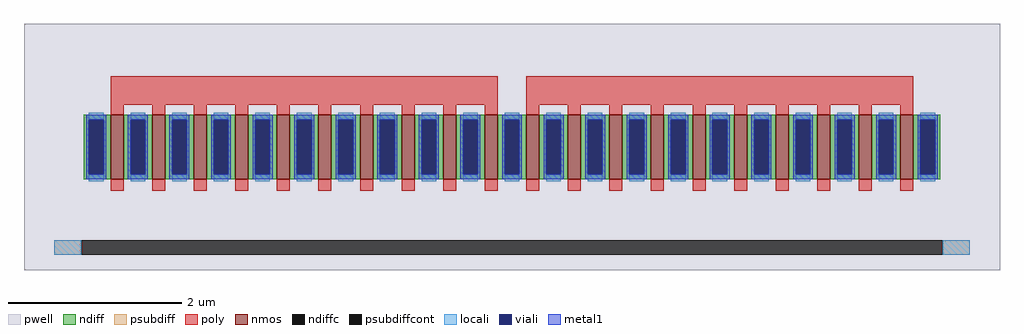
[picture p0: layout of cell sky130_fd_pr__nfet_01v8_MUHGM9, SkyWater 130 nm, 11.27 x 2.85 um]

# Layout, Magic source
magic
tech sky130A
magscale 1 2
<< pwell >>
rect -1127 -285 1127 285
<< nmos >>
rect -927 -75 -897 75
rect -831 -75 -801 75
rect -735 -75 -705 75
rect -639 -75 -609 75
rect -543 -75 -513 75
rect -447 -75 -417 75
rect -351 -75 -321 75
rect -255 -75 -225 75
rect -159 -75 -129 75
rect -63 -75 -33 75
rect 33 -75 63 75
rect 129 -75 159 75
rect 225 -75 255 75
rect 321 -75 351 75
rect 417 -75 447 75
rect 513 -75 543 75
rect 609 -75 639 75
rect 705 -75 735 75
rect 801 -75 831 75
rect 897 -75 927 75
<< ndiff >>
rect -989 63 -927 75
rect -989 -63 -977 63
rect -943 -63 -927 63
rect -989 -75 -927 -63
rect -897 63 -831 75
rect -897 -63 -881 63
rect -847 -63 -831 63
rect -897 -75 -831 -63
rect -801 63 -735 75
rect -801 -63 -785 63
rect -751 -63 -735 63
rect -801 -75 -735 -63
rect -705 63 -639 75
rect -705 -63 -689 63
rect -655 -63 -639 63
rect -705 -75 -639 -63
rect -609 63 -543 75
rect -609 -63 -593 63
rect -559 -63 -543 63
rect -609 -75 -543 -63
rect -513 63 -447 75
rect -513 -63 -497 63
rect -463 -63 -447 63
rect -513 -75 -447 -63
rect -417 63 -351 75
rect -417 -63 -401 63
rect -367 -63 -351 63
rect -417 -75 -351 -63
rect -321 63 -255 75
rect -321 -63 -305 63
rect -271 -63 -255 63
rect -321 -75 -255 -63
rect -225 63 -159 75
rect -225 -63 -209 63
rect -175 -63 -159 63
rect -225 -75 -159 -63
rect -129 63 -63 75
rect -129 -63 -113 63
rect -79 -63 -63 63
rect -129 -75 -63 -63
rect -33 63 33 75
rect -33 -63 -17 63
rect 17 -63 33 63
rect -33 -75 33 -63
rect 63 63 129 75
rect 63 -63 79 63
rect 113 -63 129 63
rect 63 -75 129 -63
rect 159 63 225 75
rect 159 -63 175 63
rect 209 -63 225 63
rect 159 -75 225 -63
rect 255 63 321 75
rect 255 -63 271 63
rect 305 -63 321 63
rect 255 -75 321 -63
rect 351 63 417 75
rect 351 -63 367 63
rect 401 -63 417 63
rect 351 -75 417 -63
rect 447 63 513 75
rect 447 -63 463 63
rect 497 -63 513 63
rect 447 -75 513 -63
rect 543 63 609 75
rect 543 -63 559 63
rect 593 -63 609 63
rect 543 -75 609 -63
rect 639 63 705 75
rect 639 -63 655 63
rect 689 -63 705 63
rect 639 -75 705 -63
rect 735 63 801 75
rect 735 -63 751 63
rect 785 -63 801 63
rect 735 -75 801 -63
rect 831 63 897 75
rect 831 -63 847 63
rect 881 -63 897 63
rect 831 -75 897 -63
rect 927 63 989 75
rect 927 -63 943 63
rect 977 -63 989 63
rect 927 -75 989 -63
<< ndiffc >>
rect -977 -63 -943 63
rect -881 -63 -847 63
rect -785 -63 -751 63
rect -689 -63 -655 63
rect -593 -63 -559 63
rect -497 -63 -463 63
rect -401 -63 -367 63
rect -305 -63 -271 63
rect -209 -63 -175 63
rect -113 -63 -79 63
rect -17 -63 17 63
rect 79 -63 113 63
rect 175 -63 209 63
rect 271 -63 305 63
rect 367 -63 401 63
rect 463 -63 497 63
rect 559 -63 593 63
rect 655 -63 689 63
rect 751 -63 785 63
rect 847 -63 881 63
rect 943 -63 977 63
<< psubdiff >>
rect -1057 -249 -995 -215
rect 995 -249 1057 -215
<< psubdiffcont >>
rect -995 -249 995 -215
<< poly >>
rect -927 97 -33 163
rect -927 75 -897 97
rect -831 75 -801 97
rect -735 75 -705 97
rect -639 75 -609 97
rect -543 75 -513 97
rect -447 75 -417 97
rect -351 75 -321 97
rect -255 75 -225 97
rect -159 75 -129 97
rect -63 75 -33 97
rect 33 97 927 163
rect 33 75 63 97
rect 129 75 159 97
rect 225 75 255 97
rect 321 75 351 97
rect 417 75 447 97
rect 513 75 543 97
rect 609 75 639 97
rect 705 75 735 97
rect 801 75 831 97
rect 897 75 927 97
rect -927 -101 -897 -75
rect -831 -101 -801 -75
rect -735 -101 -705 -75
rect -639 -101 -609 -75
rect -543 -101 -513 -75
rect -447 -101 -417 -75
rect -351 -101 -321 -75
rect -255 -101 -225 -75
rect -159 -101 -129 -75
rect -63 -101 -33 -75
rect 33 -101 63 -75
rect 129 -101 159 -75
rect 225 -101 255 -75
rect 321 -101 351 -75
rect 417 -101 447 -75
rect 513 -101 543 -75
rect 609 -101 639 -75
rect 705 -101 735 -75
rect 801 -101 831 -75
rect 897 -101 927 -75
<< locali >>
rect -977 63 -943 79
rect -977 -79 -943 -63
rect -881 63 -847 79
rect -881 -79 -847 -63
rect -785 63 -751 79
rect -785 -79 -751 -63
rect -689 63 -655 79
rect -689 -79 -655 -63
rect -593 63 -559 79
rect -593 -79 -559 -63
rect -497 63 -463 79
rect -497 -79 -463 -63
rect -401 63 -367 79
rect -401 -79 -367 -63
rect -305 63 -271 79
rect -305 -79 -271 -63
rect -209 63 -175 79
rect -209 -79 -175 -63
rect -113 63 -79 79
rect -113 -79 -79 -63
rect -17 63 17 79
rect -17 -79 17 -63
rect 79 63 113 79
rect 79 -79 113 -63
rect 175 63 209 79
rect 175 -79 209 -63
rect 271 63 305 79
rect 271 -79 305 -63
rect 367 63 401 79
rect 367 -79 401 -63
rect 463 63 497 79
rect 463 -79 497 -63
rect 559 63 593 79
rect 559 -79 593 -63
rect 655 63 689 79
rect 655 -79 689 -63
rect 751 63 785 79
rect 751 -79 785 -63
rect 847 63 881 79
rect 847 -79 881 -63
rect 943 63 977 79
rect 943 -79 977 -63
rect -1057 -249 -995 -215
rect 995 -249 1057 -215
<< viali >>
rect -977 -63 -943 63
rect -881 -63 -847 63
rect -785 -63 -751 63
rect -689 -63 -655 63
rect -593 -63 -559 63
rect -497 -63 -463 63
rect -401 -63 -367 63
rect -305 -63 -271 63
rect -209 -63 -175 63
rect -113 -63 -79 63
rect -17 -63 17 63
rect 79 -63 113 63
rect 175 -63 209 63
rect 271 -63 305 63
rect 367 -63 401 63
rect 463 -63 497 63
rect 559 -63 593 63
rect 655 -63 689 63
rect 751 -63 785 63
rect 847 -63 881 63
rect 943 -63 977 63
<< metal1 >>
rect -983 63 -937 75
rect -983 -63 -977 63
rect -943 -63 -937 63
rect -983 -75 -937 -63
rect -887 63 -841 75
rect -887 -63 -881 63
rect -847 -63 -841 63
rect -887 -75 -841 -63
rect -791 63 -745 75
rect -791 -63 -785 63
rect -751 -63 -745 63
rect -791 -75 -745 -63
rect -695 63 -649 75
rect -695 -63 -689 63
rect -655 -63 -649 63
rect -695 -75 -649 -63
rect -599 63 -553 75
rect -599 -63 -593 63
rect -559 -63 -553 63
rect -599 -75 -553 -63
rect -503 63 -457 75
rect -503 -63 -497 63
rect -463 -63 -457 63
rect -503 -75 -457 -63
rect -407 63 -361 75
rect -407 -63 -401 63
rect -367 -63 -361 63
rect -407 -75 -361 -63
rect -311 63 -265 75
rect -311 -63 -305 63
rect -271 -63 -265 63
rect -311 -75 -265 -63
rect -215 63 -169 75
rect -215 -63 -209 63
rect -175 -63 -169 63
rect -215 -75 -169 -63
rect -119 63 -73 75
rect -119 -63 -113 63
rect -79 -63 -73 63
rect -119 -75 -73 -63
rect -23 63 23 75
rect -23 -63 -17 63
rect 17 -63 23 63
rect -23 -75 23 -63
rect 73 63 119 75
rect 73 -63 79 63
rect 113 -63 119 63
rect 73 -75 119 -63
rect 169 63 215 75
rect 169 -63 175 63
rect 209 -63 215 63
rect 169 -75 215 -63
rect 265 63 311 75
rect 265 -63 271 63
rect 305 -63 311 63
rect 265 -75 311 -63
rect 361 63 407 75
rect 361 -63 367 63
rect 401 -63 407 63
rect 361 -75 407 -63
rect 457 63 503 75
rect 457 -63 463 63
rect 497 -63 503 63
rect 457 -75 503 -63
rect 553 63 599 75
rect 553 -63 559 63
rect 593 -63 599 63
rect 553 -75 599 -63
rect 649 63 695 75
rect 649 -63 655 63
rect 689 -63 695 63
rect 649 -75 695 -63
rect 745 63 791 75
rect 745 -63 751 63
rect 785 -63 791 63
rect 745 -75 791 -63
rect 841 63 887 75
rect 841 -63 847 63
rect 881 -63 887 63
rect 841 -75 887 -63
rect 937 63 983 75
rect 937 -63 943 63
rect 977 -63 983 63
rect 937 -75 983 -63
<< properties >>
string gencell sky130_fd_pr__nfet_01v8
string FIXED_BBOX -1074 -232 1074 232
string parameters w 0.75 l 0.150 m 1 nf 20 diffcov 100 polycov 100 guard 1 glc 1 grc 1 gtc 1 gbc 1 tbcov 100 rlcov 100 topc 1 botc 1 poverlap 0 doverlap 1 lmin 0.15 wmin 0.42 compatible {sky130_fd_pr__nfet_01v8 sky130_fd_pr__nfet_01v8_lvt  sky130_fd_bs_flash__special_sonosfet_star  sky130_fd_pr__nfet_g5v0d10v5 sky130_fd_pr__nfet_05v0_nvt  sky130_fd_pr__nfet_03v3_nvt} full_metal 1 viasrc 100 viadrn 100 viagate 100 viagb 0 viagr 0 viagl 0 viagt 0
string library sky130
<< end >>
